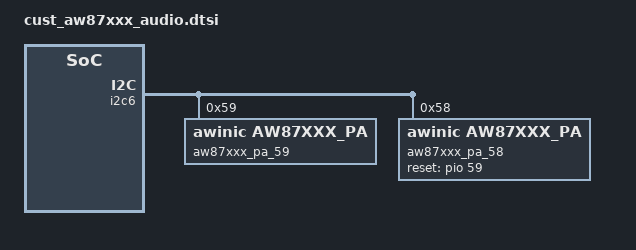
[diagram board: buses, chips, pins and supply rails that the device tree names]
/*
 * Copyright (c) 2019 MediaTek Inc.
 *
 * This program is free software; you can redistribute it and/or modify
 * it under the terms of the GNU General Public License version 2 as
 * published by the Free Software Foundation.
 *
 * This program is distributed in the hope that it will be useful,
 * but WITHOUT ANY WARRANTY; without even the implied warranty of
 * MERCHANTABILITY or FITNESS FOR A PARTICULAR PURPOSE.  See the
 * GNU General Public License for more details.
 */
&i2c6 {
	speaker_amp: speaker_amp@34 {
		status = "disabled";
	};
};

&i2c6 {
/* AWINIC AW87XXX Smart K PA */
	aw87xxx_pa_59@59 {
		compatible = "awinic,aw87xxx_pa";
		reg = <0x59>;
		//reset-gpio = <&pio 63 0>;
		monitor-flag = <1>;
		pa-channel = < 0 >;
		monitor-timer-val = <3000>;
		monitor-timer-count-max = <5>;
		status = "okay";
	};

	aw87xxx_pa_58@58 {
		compatible = "awinic,aw87xxx_pa";
		reg = <0x58>;
		reset-gpio = <&pio 59 0>;
		monitor-flag = <1>;
		pa-channel = < 1 >;
		monitor-timer-val = <3000>;
		monitor-timer-count-max = <5>;
		status = "okay";
	};
/* AWINIC AW87XXX Smart K PA End */
};
